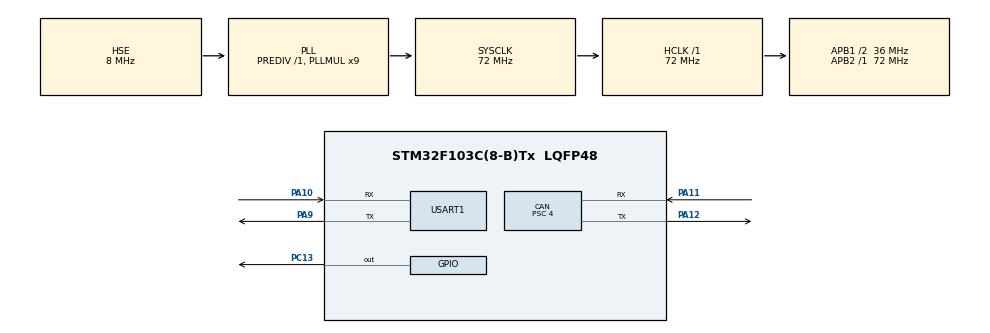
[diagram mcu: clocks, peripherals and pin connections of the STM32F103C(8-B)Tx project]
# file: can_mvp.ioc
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CAN.ABOM=ENABLE
CAN.AWUM=DISABLE
CAN.BS1=CAN_BS1_15TQ
CAN.BS2=CAN_BS2_2TQ
CAN.CalculateBaudRate=500000
CAN.CalculateTimeBit=2000
CAN.CalculateTimeQuantum=111.11111111111111
CAN.Mode=CAN_MODE_NORMAL
CAN.NART=ENABLE
CAN.Prescaler=4
Mcu.Family=STM32F1
Mcu.Name=STM32F103C(8-B)Tx
Mcu.Package=LQFP48
NVIC.PriorityGroup=NVIC_PRIORITYGROUP_4
NVIC.USB_HP_CAN1_TX_IRQn=true\:0\:0\:false\:false\:true\:true\:true\:true
NVIC.USB_LP_CAN1_RX0_IRQn=true\:0\:0\:false\:false\:true\:true\:true\:true
PA10.Mode=Asynchronous
PA10.Signal=USART1_RX
PA11.Mode=CAN_Activate
PA11.Signal=CAN_RX
PA12.Mode=CAN_Activate
PA12.Signal=CAN_TX
PA13.Mode=Serial_Wire
PA13.Signal=SYS_JTMS-SWDIO
PA14.Mode=Serial_Wire
PA14.Signal=SYS_JTCK-SWCLK
PA9.Mode=Asynchronous
PA9.Signal=USART1_TX
PC13-TAMPER-RTC.Signal=GPIO_Output
PD0-OSC_IN.Mode=HSE-External-Oscillator
PD0-OSC_IN.Signal=RCC_OSC_IN
PD1-OSC_OUT.Mode=HSE-External-Oscillator
PD1-OSC_OUT.Signal=RCC_OSC_OUT
ProjectManager.HeapSize=0x200
ProjectManager.StackSize=0x400
ProjectManager.TargetToolchain=CMake
RCC.AHBFreq_Value=72000000
RCC.APB1CLKDivider=RCC_HCLK_DIV2
RCC.APB1Freq_Value=36000000
RCC.APB1TimFreq_Value=72000000
RCC.APB2Freq_Value=72000000
RCC.APB2TimFreq_Value=72000000
RCC.HCLKFreq_Value=72000000
RCC.PLLMUL=RCC_PLL_MUL9
RCC.PLLSourceVirtual=RCC_PLLSOURCE_HSE
RCC.SYSCLKFreq_VALUE=72000000
RCC.SYSCLKSource=RCC_SYSCLKSOURCE_PLLCLK
RCC.USBFreq_Value=72000000
USART1.VirtualMode=VM_ASYNC
board=custom

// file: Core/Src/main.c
/* USER CODE BEGIN Header */
/**
  ******************************************************************************
  * @file           : main.c
  * @brief          : Main program body
  ******************************************************************************
  * @attention
  *
  * Copyright (c) 2026 STMicroelectronics.
  * All rights reserved.
  *
  * This software is licensed under terms that can be found in the LICENSE file
  * in the root directory of this software component.
  * If no LICENSE file comes with this software, it is provided AS-IS.
  *
  ******************************************************************************
  */
/* USER CODE END Header */
#include "main.h"
#include "can.h"
#include "usart.h"
#include "gpio.h"

/* USER CODE BEGIN Includes */
#include <stdio.h>
/* USER CODE END Includes */

/* USER CODE BEGIN PD */
#define CAN_ROLE_TRANSMITTER 1
/* USER CODE END PD */

/* USER CODE BEGIN PV */
volatile uint32_t can_rx_count = 0;
volatile uint32_t can_last_id = 0;
volatile uint8_t can_last_data[8] = {0};

uint32_t last_tx_time = 0;
uint8_t tx_data[4] = {0xCA, 0xFE, 0x01, 0x02};

CAN_FilterTypeDef sFilterConfig;

#define CAN_LOG_QUEUE_SIZE 16

typedef struct {
    uint32_t id;
    uint8_t dlc;
    uint8_t data[8];
} CAN_LogFrame;

static CAN_LogFrame can_log_queue[CAN_LOG_QUEUE_SIZE];

static volatile uint8_t can_log_head = 0;
static volatile uint8_t can_log_tail = 0;
static volatile uint32_t can_log_dropped = 0;

volatile uint32_t can_tx_count = 0;

#define CAN_TX_LOG_QUEUE_SIZE 16

static CAN_LogFrame can_tx_log_queue[CAN_TX_LOG_QUEUE_SIZE];

static volatile uint8_t can_tx_log_head = 0;
static volatile uint8_t can_tx_log_tail = 0;
static volatile uint32_t can_tx_log_dropped = 0;

static CAN_LogFrame can_tx_pending[3];
static volatile uint8_t can_tx_pending_valid[3] = {0};
volatile uint32_t can_tx_tsr[3] = {0};

/* USER CODE END PV */

void SystemClock_Config(void);
/* USER CODE BEGIN PFP */
static void CAN_Log_Process(void);
static void CAN_Status_Report(void);
static void CAN_LogTx_Enqueue(uint8_t mailbox);
static void CAN_LogTx_Process(void);
/* USER CODE END PFP */

int main(void)
{

  /* MCU Configuration--------------------------------------------------------*/

  /* Reset of all peripherals, Initializes the Flash interface and the Systick. */
  HAL_Init();

  /* Configure the system clock */
  SystemClock_Config();

  /* Initialize all configured peripherals */
  MX_GPIO_Init();
  MX_CAN_Init();
  MX_USART1_UART_Init();
  /* USER CODE BEGIN 2 */

HAL_Delay(2000);

  const char uart_test[] = "Blue Pill UART is alive!\r\n";

HAL_UART_Transmit(&huart1,
                  (uint8_t *)uart_test,
                  sizeof(uart_test) - 1,
                  HAL_MAX_DELAY);

  sFilterConfig.FilterBank = 0;
  sFilterConfig.FilterMode = CAN_FILTERMODE_IDMASK;
  sFilterConfig.FilterScale = CAN_FILTERSCALE_32BIT;
  sFilterConfig.FilterIdHigh = 0x0000;
  sFilterConfig.FilterIdLow = 0x0000;
  sFilterConfig.FilterMaskIdHigh = 0x0000;
  sFilterConfig.FilterMaskIdLow = 0x0000;
  sFilterConfig.FilterFIFOAssignment = CAN_FILTER_FIFO0;
  sFilterConfig.FilterActivation = ENABLE;
  sFilterConfig.SlaveStartFilterBank = 14;

  if (HAL_CAN_ConfigFilter(&hcan, &sFilterConfig) != HAL_OK)
  {
      Error_Handler();
  }

  HAL_StatusTypeDef status = HAL_CAN_ActivateNotification(&hcan,    CAN_IT_RX_FIFO0_MSG_PENDING | CAN_IT_TX_MAILBOX_EMPTY);

  if (status != HAL_OK)
  {
      Error_Handler();
  }

  if (HAL_CAN_Start(&hcan) != HAL_OK)
  {
      Error_Handler();
  }

  /* USER CODE END 2 */

  /* Infinite loop */
  /* USER CODE BEGIN WHILE */
  while (1)
  {
#if CAN_ROLE_TRANSMITTER != 0
    if (HAL_GetTick() - last_tx_time >= 500)
    {
        CAN_TxHeaderTypeDef txHeader;
        uint32_t txMailbox;

        txHeader.StdId = 0x123; // CAN message id
        txHeader.ExtId = 0;
        txHeader.IDE = CAN_ID_STD;
        txHeader.RTR = CAN_RTR_DATA;
        txHeader.DLC = 4; // Payload bytes
        txHeader.TransmitGlobalTime = DISABLE;

        // We check for a free mailbox first because bxCAN has three hardware transmit mailboxes. We don't want to queue another frame if all are occupied.
        if (HAL_CAN_GetTxMailboxesFreeLevel(&hcan) > 0)
        {
            if (HAL_CAN_AddTxMessage(&hcan, &txHeader, tx_data, &txMailbox) == HAL_OK)
            {
                uint8_t mailbox = 0;

                if (txMailbox == CAN_TX_MAILBOX1)
                    mailbox = 1;
                else if (txMailbox == CAN_TX_MAILBOX2)
                    mailbox = 2;

                can_tx_pending[mailbox].id = txHeader.StdId;
                can_tx_pending[mailbox].dlc = txHeader.DLC;

                for (uint8_t i = 0; i < 8; i++)
                    can_tx_pending[mailbox].data[i] = tx_data[i];

                __DMB();
                can_tx_pending_valid[mailbox] = 1;

                tx_data[3]++;

            }
        }

        last_tx_time = HAL_GetTick();
    }
#else

#endif
    CAN_Log_Process();
    CAN_LogTx_Process();
    CAN_Status_Report();

    /* USER CODE END WHILE */

  }
}

void SystemClock_Config(void)
{
  RCC_OscInitTypeDef RCC_OscInitStruct = {0};
  RCC_ClkInitTypeDef RCC_ClkInitStruct = {0};

  /** Initializes the RCC Oscillators according to the specified parameters
  * in the RCC_OscInitTypeDef structure.
  */
  RCC_OscInitStruct.OscillatorType = RCC_OSCILLATORTYPE_HSE;
  RCC_OscInitStruct.HSEState = RCC_HSE_ON;
  RCC_OscInitStruct.HSEPredivValue = RCC_HSE_PREDIV_DIV1;
  RCC_OscInitStruct.HSIState = RCC_HSI_ON;
  RCC_OscInitStruct.PLL.PLLState = RCC_PLL_ON;
  RCC_OscInitStruct.PLL.PLLSource = RCC_PLLSOURCE_HSE;
  RCC_OscInitStruct.PLL.PLLMUL = RCC_PLL_MUL9;
  if (HAL_RCC_OscConfig(&RCC_OscInitStruct) != HAL_OK)
  {
    Error_Handler();
  }

  /** Initializes the CPU, AHB and APB buses clocks
  */
  RCC_ClkInitStruct.ClockType = RCC_CLOCKTYPE_HCLK|RCC_CLOCKTYPE_SYSCLK
                              |RCC_CLOCKTYPE_PCLK1|RCC_CLOCKTYPE_PCLK2;
  RCC_ClkInitStruct.SYSCLKSource = RCC_SYSCLKSOURCE_PLLCLK;
  RCC_ClkInitStruct.AHBCLKDivider = RCC_SYSCLK_DIV1;
  RCC_ClkInitStruct.APB1CLKDivider = RCC_HCLK_DIV2;
  RCC_ClkInitStruct.APB2CLKDivider = RCC_HCLK_DIV1;

  if (HAL_RCC_ClockConfig(&RCC_ClkInitStruct, FLASH_LATENCY_2) != HAL_OK)
  {
    Error_Handler();
  }
}

/* USER CODE BEGIN 4 */
void HAL_CAN_RxFifo0MsgPendingCallback(CAN_HandleTypeDef *hcan)
{
    CAN_RxHeaderTypeDef rxHeader;
    uint8_t rxData[8];

    if (HAL_CAN_GetRxMessage(hcan, CAN_RX_FIFO0,
                             &rxHeader, rxData) != HAL_OK) {
        return;
    }

    can_rx_count++;
    can_last_id = rxHeader.StdId;

    for (uint8_t i = 0; i < 8; i++) {
        can_last_data[i] = rxData[i];
    }

    uint8_t next = (can_log_head + 1) % CAN_LOG_QUEUE_SIZE;

    if (next != can_log_tail) {
        can_log_queue[can_log_head].id = rxHeader.StdId;
        can_log_queue[can_log_head].dlc = rxHeader.DLC;

        for (uint8_t i = 0; i < 8; i++) {
            can_log_queue[can_log_head].data[i] = rxData[i];
        }

        can_log_head = next;
    } else {
        can_log_dropped++;
    }

    HAL_GPIO_TogglePin(GPIOC, GPIO_PIN_13);
}
static void CAN_LogTx_Enqueue(uint8_t mailbox)
{
    if (!can_tx_pending_valid[mailbox])
        return;

    uint8_t next = (can_tx_log_head + 1) % CAN_TX_LOG_QUEUE_SIZE;

    if (next == can_tx_log_tail) {
        can_tx_log_dropped++;
        can_tx_pending_valid[mailbox] = 0;
        return;
    }

    can_tx_log_queue[can_tx_log_head] = can_tx_pending[mailbox];

    can_tx_log_head = next;
    can_tx_pending_valid[mailbox] = 0;
}

void HAL_CAN_TxMailbox0CompleteCallback(CAN_HandleTypeDef *hcan)
{
    can_tx_count++;
    CAN_LogTx_Enqueue(0);
}

void HAL_CAN_TxMailbox1CompleteCallback(CAN_HandleTypeDef *hcan)
{
    can_tx_count++;
    CAN_LogTx_Enqueue(1);
}

void HAL_CAN_TxMailbox2CompleteCallback(CAN_HandleTypeDef *hcan)
{
    can_tx_count++;
    CAN_LogTx_Enqueue(2);
}
static void CAN_Log_Process(void)
{
    while (can_log_tail != can_log_head) {
        CAN_LogFrame frame;

        __disable_irq();

        frame = can_log_queue[can_log_tail];
        can_log_tail = (can_log_tail + 1) % CAN_LOG_QUEUE_SIZE;

        __enable_irq();

        char message[80];
        int len = snprintf(message, sizeof(message),
                           "[CAN RX] ID=%03lX DLC=%u DATA=",
                           (unsigned long)frame.id,
                           frame.dlc);

        for (uint8_t i = 0; i < frame.dlc; i++) {
            len += snprintf(message + len, sizeof(message) - len,
                            "%02X%s",
                            frame.data[i],
                            (i + 1 < frame.dlc) ? " " : "");
        }

        len += snprintf(message + len, sizeof(message) - len, "\r\n");

        HAL_UART_Transmit(&huart1, (uint8_t *)message,
                          len, HAL_MAX_DELAY);
    }
}

static void CAN_Status_Report(void)
{
    static uint32_t last_report = 0;

    uint32_t now = HAL_GetTick();

    if ((now - last_report) < 1000)
        return;

    last_report = now;

    uint32_t esr = CAN1->ESR;

    uint32_t tec = (esr >> 24) & 0xFF;
    uint32_t rec = (esr >> 16) & 0xFF;
    uint32_t lec = (esr >> 4) & 0x07;

    char message[196];

    int len = snprintf(message, sizeof(message),
        "[CAN] RX=%lu TX=%lu DROP=%lu "
        "ESR=%08lX TEC=%lu REC=%lu LEC=%lu "
        "MSR=%08lX TSR=%08lX MCR=%08lX"
        " TSR0=%08lX TSR1=%08lX TSR2=%08lX"
        "\r\n",
        (unsigned long)can_rx_count,
        (unsigned long)can_tx_count,
        (unsigned long)can_log_dropped,
        (unsigned long)esr,
        (unsigned long)tec,
        (unsigned long)rec,
        (unsigned long)lec,
        (unsigned long)CAN1->MSR,
        (unsigned long)CAN1->TSR,
        (unsigned long)CAN1->MCR,
        (unsigned long)can_tx_tsr[0],
        (unsigned long)can_tx_tsr[1],
        (unsigned long)can_tx_tsr[2]
      );

    HAL_UART_Transmit(&huart1,
        (uint8_t *)message, len, HAL_MAX_DELAY);
}

static void CAN_LogTx_Process(void)
{
    while (can_tx_log_tail != can_tx_log_head) {
        CAN_LogFrame frame;

        __disable_irq();

        frame = can_tx_log_queue[can_tx_log_tail];
        can_tx_log_tail =
            (can_tx_log_tail + 1) % CAN_TX_LOG_QUEUE_SIZE;

        __enable_irq();

        char message[80];

        int len = snprintf(message, sizeof(message),
            "[CAN TX] ID=%03lX DLC=%u DATA=",
            (unsigned long)frame.id,
            frame.dlc);

        for (uint8_t i = 0; i < frame.dlc; i++) {
            len += snprintf(message + len, sizeof(message) - len,
                "%02X%s",
                frame.data[i],
                (i + 1 < frame.dlc) ? " " : "");
        }

        len += snprintf(message + len, sizeof(message) - len, "\r\n");

        HAL_UART_Transmit(&huart1,
            (uint8_t *)message, len, HAL_MAX_DELAY);
    }
}
/* USER CODE END 4 */

void Error_Handler(void)
{
  __disable_irq();
  while (1)
  {
  }
}
